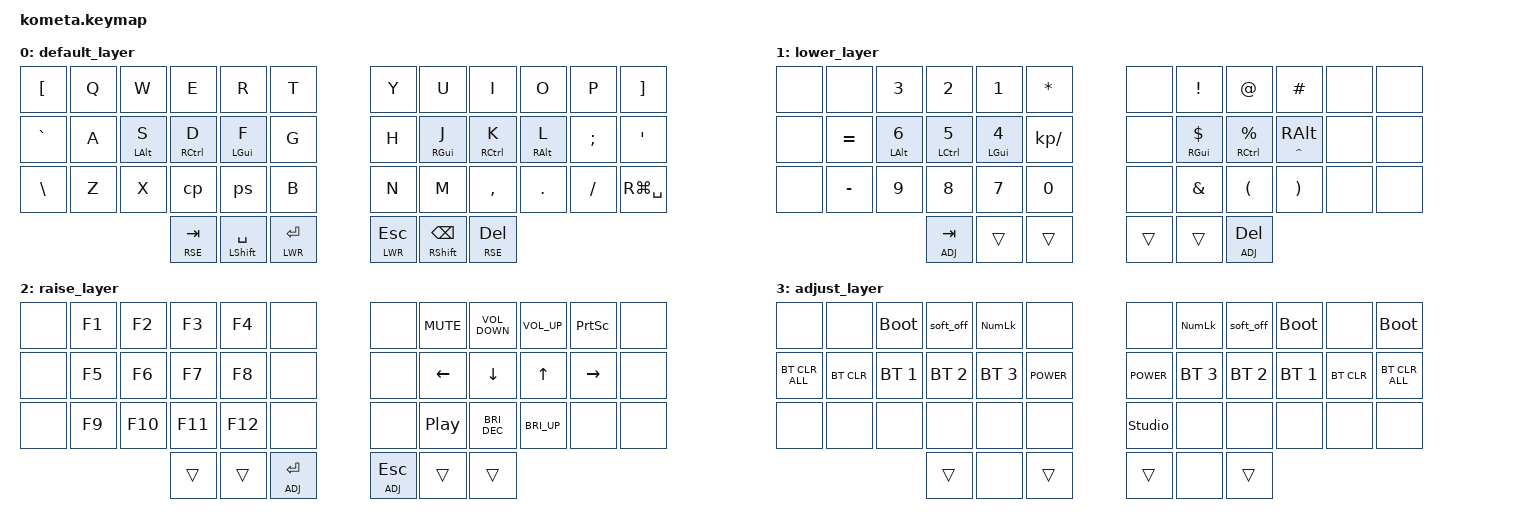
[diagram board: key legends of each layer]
#include <behaviors.dtsi>
#include <dt-bindings/zmk/bt.h>
#include <dt-bindings/zmk/keys.h>

#define DEF 0
#define LWR 1
#define RSE 2
#define ADJ 3

/ {
};

/ {
    behaviors {
        hr: hr {
            compatible = "zmk,behavior-hold-tap";
            label = "home_row";
            bindings = <&kp>, <&kp>;

            #binding-cells = <2>;
            tapping-term-ms = <150>;
            quick-tap-ms = <250>;
            flavor = "tap-preferred";
        };

        cp: cp {
            compatible = "zmk,behavior-tap-dance";
            label = "copy";
            #binding-cells = <0>;
            bindings = <&kp C>, <&kp K_COPY>;
        };

        ps: ps {
            compatible = "zmk,behavior-tap-dance";
            label = "paste";
            #binding-cells = <0>;
            bindings = <&kp V>, <&kp K_PASTE>;
        };
    };

    keymap {
        compatible = "zmk,keymap";

        default_layer {
            bindings = <
&kp LEFT_BRACKET  &kp Q  &kp W           &kp E        &kp R            &kp T        &kp Y        &kp U            &kp I        &kp O            &kp P     &kp RIGHT_BRACKET
&kp GRAVE         &kp A  &hr LEFT_ALT S  &hr RCTRL D  &hr LEFT_GUI F   &kp G        &kp H        &hr RIGHT_GUI J  &hr RCTRL K  &hr RIGHT_ALT L  &kp SEMI  &kp SQT
&kp BSLH          &kp Z  &kp X           &cp          &ps              &kp B        &kp N        &kp M            &kp COMMA    &kp DOT          &kp FSLH  &kp RG(SPACE)
                                         &lt RSE TAB  &mt LSHFT SPACE  &lt LWR RET  &lt LWR ESC  &mt RSHFT BSPC   &lt RSE DEL
            >;
        };

        lower_layer {
            bindings = <
&none  &none      &kp NUMBER_3           &kp NUMBER_2  &kp N1                 &kp ASTERISK   &none   &kp EXCLAMATION       &kp AT_SIGN           &kp HASH               &none  &none
&none  &kp EQUAL  &hr LEFT_ALT NUMBER_6  &hr LCTRL N5  &hr LEFT_GUI NUMBER_4  &kp KP_DIVIDE  &none   &hr RIGHT_GUI DOLLAR  &hr RCTRL PERCENT     &hr CARET RIGHT_ALT    &none  &none
&none  &kp MINUS  &kp N9                 &kp N8        &kp N7                 &kp N0         &none   &kp AMPERSAND         &kp LEFT_PARENTHESIS  &kp RIGHT_PARENTHESIS  &none  &none
                                         &lt ADJ TAB   &trans                 &trans         &trans  &trans                &lt ADJ DEL
            >;
        };

        raise_layer {
            bindings = <
&none  &kp F1  &kp F2   &kp F3   &kp F4   &none        &none        &kp C_MUTE  &kp C_VOLUME_DOWN     &kp C_VOLUME_UP  &kp PRINTSCREEN  &none
&none  &kp F5  &kp F6   &kp F7   &kp F8   &none        &none        &kp LEFT    &kp DOWN              &kp UP           &kp RIGHT_ARROW  &none
&none  &kp F9  &kp F10  &kp F11  &kp F12  &none        &none        &kp C_PP    &kp C_BRIGHTNESS_DEC  &kp C_BRI_UP     &none            &none
                        &trans   &trans   &lt ADJ RET  &lt ADJ ESC  &trans      &trans
            >;
        };

        adjust_layer {
            bindings = <
&none           &none       &bootloader   &soft_off     &kp KP_NUMLOCK  &none        &none           &kp KP_NUMLOCK  &soft_off     &bootloader   &none       &bootloader
&bt BT_CLR_ALL  &bt BT_CLR  &bt BT_SEL 1  &bt BT_SEL 2  &bt BT_SEL 3    &kp K_POWER  &kp K_POWER     &bt BT_SEL 3    &bt BT_SEL 2  &bt BT_SEL 1  &bt BT_CLR  &bt BT_CLR_ALL
&none           &none       &none         &none         &none           &none        &studio_unlock  &none           &none         &none         &none       &none
                                          &trans        &none           &trans       &trans          &none           &trans
            >;
        };
    };
};
